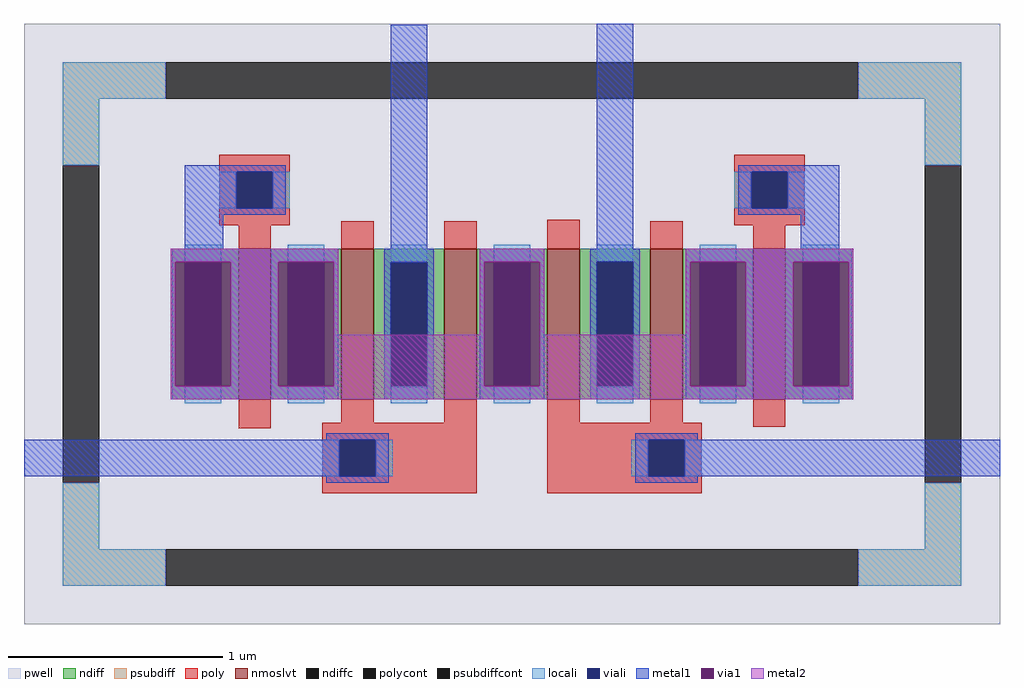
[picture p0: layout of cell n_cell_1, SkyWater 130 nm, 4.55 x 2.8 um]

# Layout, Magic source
magic
tech sky130A
magscale 1 2
<< pwell >>
rect -455 -280 455 280
<< nmoslvt >>
rect -255 -70 -225 70
rect -159 -70 -129 70
rect -63 -70 -33 70
rect 33 -70 63 70
rect 129 -70 159 70
rect 225 -70 255 70
<< ndiff >>
rect -317 58 -255 70
rect -317 -58 -305 58
rect -271 -58 -255 58
rect -317 -70 -255 -58
rect -225 58 -159 70
rect -225 -58 -209 58
rect -175 -58 -159 58
rect -225 -70 -159 -58
rect -129 58 -63 70
rect -129 -58 -113 58
rect -79 -58 -63 58
rect -129 -70 -63 -58
rect -33 58 33 70
rect -33 -58 -17 58
rect 17 -58 33 58
rect -33 -70 33 -58
rect 63 58 129 70
rect 63 -58 79 58
rect 113 -58 129 58
rect 63 -70 129 -58
rect 159 58 225 70
rect 159 -58 175 58
rect 209 -58 225 58
rect 159 -70 225 -58
rect 255 58 317 70
rect 255 -58 271 58
rect 305 -58 317 58
rect 255 -70 317 -58
<< ndiffc >>
rect -305 -58 -271 58
rect -209 -58 -175 58
rect -113 -58 -79 58
rect -17 -58 17 58
rect 79 -58 113 58
rect 175 -58 209 58
rect 271 -58 305 58
<< psubdiff >>
rect -419 210 -323 244
rect 323 210 419 244
rect -419 148 -385 210
rect 385 148 419 210
rect -419 -210 -385 -148
rect 385 -210 419 -148
rect -419 -244 -323 -210
rect 323 -244 419 -210
<< psubdiffcont >>
rect -323 210 323 244
rect -419 -148 -385 148
rect 385 -148 419 148
rect -323 -244 323 -210
<< poly >>
rect -273 142 -207 158
rect -273 108 -257 142
rect -223 108 -207 142
rect -273 92 -207 108
rect 207 142 273 158
rect 207 108 223 142
rect 257 108 273 142
rect -255 70 -225 92
rect -159 70 -129 96
rect -63 70 -33 96
rect 33 70 63 97
rect 129 70 159 96
rect 207 92 273 108
rect 225 70 255 92
rect -255 -97 -225 -70
rect -159 -92 -129 -70
rect -63 -92 -33 -70
rect -177 -108 -33 -92
rect -177 -142 -161 -108
rect -127 -142 -33 -108
rect -177 -158 -33 -142
rect 33 -92 63 -70
rect 129 -92 159 -70
rect 33 -108 177 -92
rect 225 -96 255 -70
rect 33 -142 127 -108
rect 161 -142 177 -108
rect 33 -158 177 -142
<< polycont >>
rect -257 108 -223 142
rect 223 108 257 142
rect -161 -142 -127 -108
rect 127 -142 161 -108
<< locali >>
rect -419 210 -323 244
rect 323 210 419 244
rect -419 148 -385 210
rect 385 148 419 210
rect -273 108 -257 142
rect -223 108 -207 142
rect 207 108 223 142
rect 257 108 273 142
rect -305 58 -271 74
rect -305 -74 -271 -58
rect -209 58 -175 74
rect -209 -74 -175 -58
rect -113 58 -79 74
rect -113 -74 -79 -58
rect -17 58 17 74
rect -17 -74 17 -58
rect 79 58 113 74
rect 79 -74 113 -58
rect 175 58 209 74
rect 175 -74 209 -58
rect 271 58 305 74
rect 271 -74 305 -58
rect -177 -142 -161 -108
rect -127 -142 -111 -108
rect 111 -142 127 -108
rect 161 -142 177 -108
rect -419 -210 -385 -148
rect 385 -210 419 -148
rect -419 -244 -323 -210
rect 323 -244 419 -210
<< viali >>
rect -257 108 -223 142
rect 223 108 257 142
rect -305 -58 -271 58
rect -209 -58 -175 58
rect -113 -58 -79 57
rect -17 -58 17 58
rect 79 -58 113 58
rect 175 -58 209 58
rect 271 -58 305 58
rect -161 -142 -127 -108
rect 127 -142 161 -108
<< metal1 >>
rect -305 142 -211 148
rect -305 108 -257 142
rect -223 108 -211 142
rect -305 102 -211 108
rect -305 70 -269 102
rect -113 70 -79 279
rect 79 70 113 280
rect 211 142 305 148
rect 211 108 223 142
rect 257 108 305 142
rect 211 102 305 108
rect 269 70 305 102
rect -318 58 -162 70
rect -318 -58 -314 58
rect -262 -58 -218 58
rect -166 -58 -162 58
rect -318 -70 -162 -58
rect -119 57 -73 70
rect -119 -58 -113 57
rect -79 -58 -73 57
rect -119 -70 -73 -58
rect -30 58 30 70
rect -30 -58 -26 58
rect 26 -58 30 58
rect -30 -70 30 -58
rect 73 58 119 70
rect 73 -58 79 58
rect 113 -58 119 58
rect 73 -70 119 -58
rect 162 58 318 70
rect 162 -58 166 58
rect 218 -58 262 58
rect 314 -58 318 58
rect 162 -70 318 -58
rect -173 -108 -115 -102
rect -455 -142 -161 -108
rect -127 -142 -115 -108
rect -173 -148 -115 -142
rect 115 -108 173 -102
rect 115 -142 127 -108
rect 161 -142 455 -108
rect 115 -148 173 -142
<< via1 >>
rect -314 -58 -305 58
rect -305 -58 -271 58
rect -271 -58 -262 58
rect -218 -58 -209 58
rect -209 -58 -175 58
rect -175 -58 -166 58
rect -26 -58 -17 58
rect -17 -58 17 58
rect 17 -58 26 58
rect 166 -58 175 58
rect 175 -58 209 58
rect 209 -58 218 58
rect 262 -58 271 58
rect 271 -58 305 58
rect 305 -58 314 58
<< metal2 >>
rect -318 58 -162 70
rect -318 -58 -314 58
rect -262 -58 -218 58
rect -166 -10 -162 58
rect -30 58 30 70
rect -30 -10 -26 58
rect -166 -58 -26 -10
rect 26 -10 30 58
rect 162 58 318 70
rect 162 -10 166 58
rect 26 -58 166 -10
rect 218 -58 262 58
rect 314 -58 318 58
rect -318 -70 318 -58
<< properties >>
string FIXED_BBOX -402 -227 402 227
string gencell sky130_fd_pr__nfet_01v8_lvt
string library sky130
string parameters w 0.7 l 0.150 m 1 nf 6 diffcov 100 polycov 100 guard 1 glc 1 grc 1 gtc 1 gbc 1 tbcov 100 rlcov 100 topc 1 botc 1 poverlap 0 doverlap 1 lmin 0.15 wmin 0.42 compatible {sky130_fd_pr__nfet_01v8 sky130_fd_pr__nfet_01v8_lvt  sky130_fd_bs_flash__special_sonosfet_star  sky130_fd_pr__nfet_g5v0d10v5 sky130_fd_pr__nfet_05v0_nvt  sky130_fd_pr__nfet_03v3_nvt} full_metal 1 viasrc 100 viadrn 100 viagate 100 viagb 0 viagr 0 viagl 0 viagt 0
<< end >>
